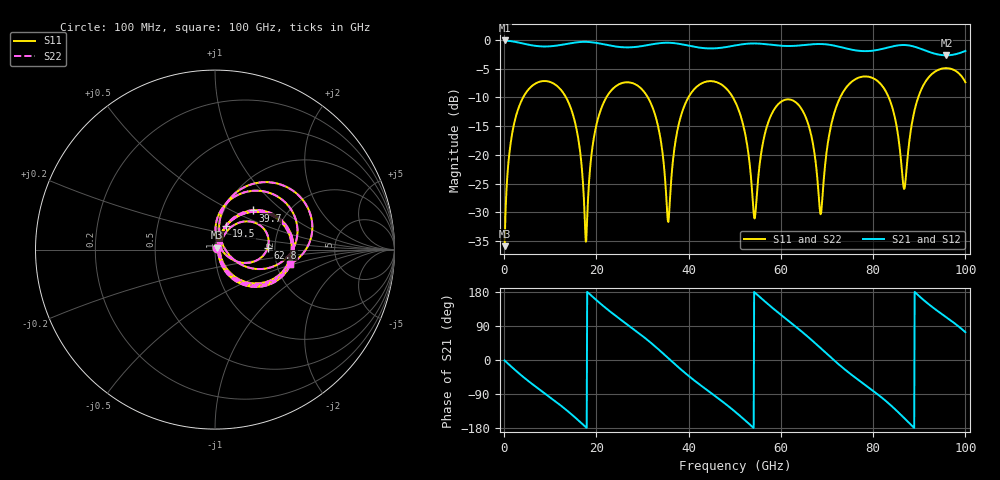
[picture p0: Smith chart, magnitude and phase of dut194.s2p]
! Touchstone file exported from HFSS 2026.1.0
!  File:  C:/ffzhzh/LocalFiles/Ansys_Project_Files/temp_test_TSV_RDL_194_1783479318_33644.aedt
!  Generated:  11:07:07 AM Jul  8, 2026
!  Design:  TSV_RDL
!  Project:  temp_test_TSV_RDL_194_1783479318_33644
! Variables:
!  h_bsmrdl = 3.46um
!  h_ox = 20um
!  h_rdl = 5um
!  h_sub = 85.95um
!  h_tmrdl = 3.68um
!  h_tsv = 85.95um
!  h_via = 3um
!  l_bsmrdl = 428.51um
!  l_sub = 3286.47um
!  l_tmrdl = 360.8um
!  m_sub = 200um
!  pitch = 48.46um
!  r_tsv = 7.7um
!  s_tmrdl = 10um
!  w_bsmrdl = 25.74um
!  w_sub = 500um
!  w_tmrdl = 26.84um
!  x_tsv_center1 = 374.22um
!  x_tsv_center2 = 828.47um
!  x_tsv_center3 = 1216.11um
!  x_tsv_center4 = 1670.36um
!  x_tsv_center5 = 2058um
!  x_tsv_center6 = 2512.25um
# GHz S MA R 50.000000
! Terminal data exported
! Port[1] = TM_RDL1_1_T1
! Port[2] = TM_RDL5_1_T1
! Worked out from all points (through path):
!   1000 points, 100 MHz to 100 GHz, reference 50 ohm
!   highest |S21| = -0.11 dB at 100 MHz (marker M1); lowest = -2.7 dB at 95.9 GHz (marker M2)
!   group delay of S21, straight-line fit = 28 ps
!   lowest |S11| = -35.9 dB at 100 MHz (marker M3), VSWR 1.03, Z = 51.3 + j1.02 ohm
!   |S11| at or under -10 dB: 13.41 GHz to 22.17 GHz (8.752 GHz wide, 49.2 % of centre); 31.15 GHz to 39.95 GHz (8.802 GHz wide, 24.8 % of centre); 49.58 GHz to 72.86 GHz (23.28 GHz wide, 38 % of centre) (the widest 3 of 5)
!   |S22| runs from -35.9 to -4.9 dB; largest |S21 - S12| = 1.8e-13
!   S11 on the Smith chart (normalised r, x): 100 MHz: 1.03, +0.02; 19.5 GHz: 1.09, +0.29; 39.7 GHz: 1.35, +0.65; 62.8 GHz: 1.83, +0.05; 100 GHz: 2.39, -0.46
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0.1  0.01611 38.1  0.9875 -1.2  0.9875 -1.2  0.01611 38.1
! Gamma 0 0 0 0
! Port Impedance 50 0 50 0
2  0.1743 61.7  0.9668 -22.4  0.9668 -22.4  0.1743 61.7
6.3  0.405 21.8  0.8919 -65.4  0.8919 -65.4  0.405 21.8
16.8  0.08028 -66.6  0.9594 -167.0  0.9594 -167.0  0.08022 -67.0
17.8  0.01808 16.8  0.9602 -178.1  0.9602 -178.1  0.01771 17.1
19.5  0.1446 65.2  0.947 163.3  0.947 163.3  0.1445 65.2
26.5  0.4277 4.3  0.8599 95.5  0.8599 95.5  0.4277 4.1
33.4  0.1755 -54.8  0.9319 28.8  0.9319 28.8  0.1752 -55.7
35.6  0.02616 9.8  0.9431 4.7  0.9431 4.7  0.02328 10.2
39.7  0.3028 46.1  0.8942 -39.0  0.8942 -39.0  0.3024 46.6
50.1  0.2891 -43.3  0.8941 -136.7  0.8941 -136.7  0.2889 -43.2
54.3  0.02804 -0.9  0.9303 178.4  0.9303 178.4  0.02783 -0.4
57.4  0.1991 48.4  0.9102 145.4  0.9102 145.4  0.1992 48.6
62.8  0.2945 2.3  0.8857 92.2  0.8857 92.2  0.2944 2.4
66.7  0.1404 -28.5  0.914 52.3  0.914 52.3  0.1403 -28.4
68.7  0.03107 39.4  0.9196 30.4  0.9196 30.4  0.03091 39.7
72.7  0.3063 70.8  0.8696 -13.2  0.8696 -13.2  0.3063 70.9
83.4  0.3146 -19.1  0.8615 -114.9  0.8615 -114.9  0.3147 -19.0
86.7  0.05066 22.0  0.9016 -152.9  0.9016 -152.9  0.05085 21.8
90.1  0.3434 69.3  0.8417 167.3  0.8417 167.3  0.3432 69.3
95.9  0.5672 22.0  0.7333 112.4  0.7333 112.4  0.5669 21.9
100  0.4277 -10.6  0.8007 73.4  0.8007 73.4  0.4272 -10.8
